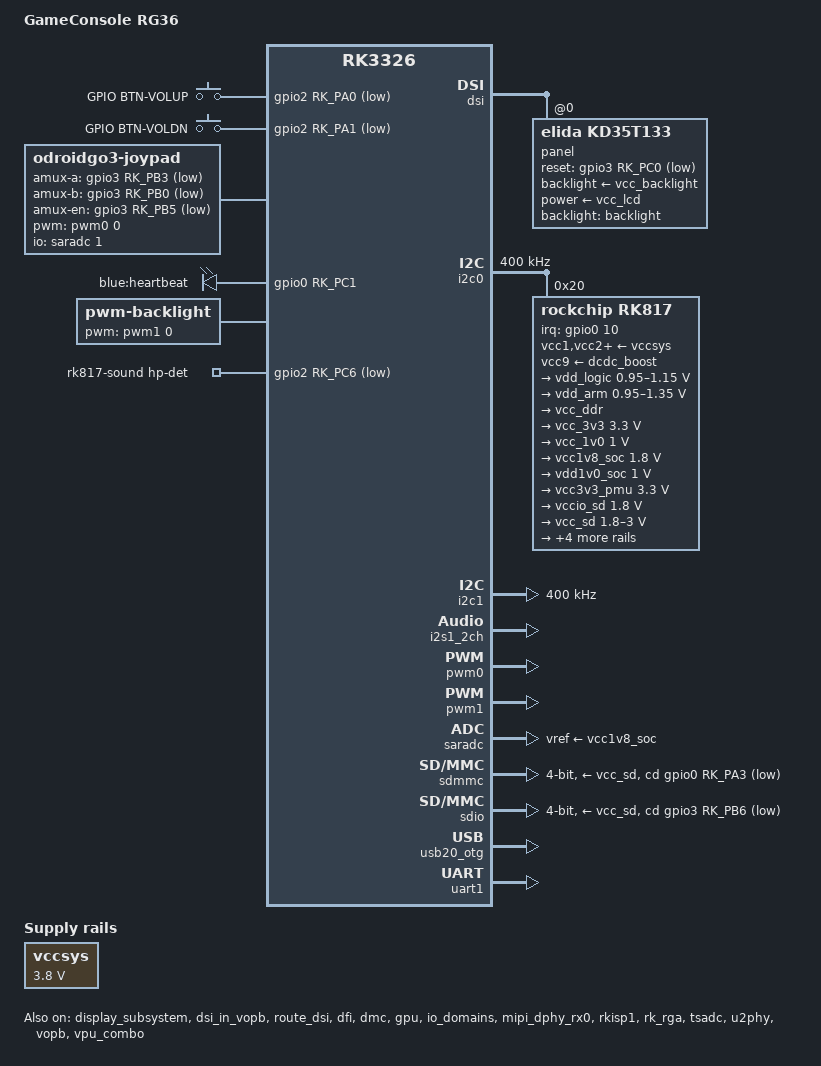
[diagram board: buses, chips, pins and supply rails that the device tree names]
// SPDX-License-Identifier: (GPL-2.0+ OR MIT)
/*
* Copyright (c) 2020 Hardkernel Co., Ltd
*/

/dts-v1/;
#include <dt-bindings/display/drm_mipi_dsi.h>
#include <dt-bindings/gpio/gpio.h>
#include <dt-bindings/input/input.h>
#include <dt-bindings/pinctrl/rockchip.h>
#include <dt-bindings/sensor-dev.h>
#include "rk3326.dtsi"
#include "rk3326-linux.dtsi"

/ {
	model = "GameConsole RG36";
	compatible = "rockchip,rk3326-rg36-linux", "rockchip,rk3326";
	
	chosen {
		bootargs = "";
	};
	
	gpio_keys: odroidgo3-keys {
		compatible = "gpio-keys";
		autorepeat;

		button_vol_up: button-vol-up {
			gpios = <&gpio2 RK_PA0 GPIO_ACTIVE_LOW>;
			label = "GPIO BTN-VOLUP";
			linux,code = <KEY_VOLUMEUP>;
		};

		button_vol_down: button-vol-down {
			gpios = <&gpio2 RK_PA1 GPIO_ACTIVE_LOW>;
			label = "GPIO BTN-VOLDN";
			linux,code = <KEY_VOLUMEDOWN>;
		};
	};
	
	joypad: odroidgo3-joypad {
		compatible = "odroidgo3-joypad";
		pwms = <&pwm0 0 200000000 0>;
		pwm-names = "enable";
		rumble-boost-weak = <0x0000>;
		rumble-boost-strong = <0x0000>;
		joypad-name = "GO-Super Gamepad";
		joypad-product = <0x1100>;
		joypad-revision = <0x0100>;
		
		status = "okay";
		
		/* gpio pincontrol setup */
		pinctrl-names = "default";
		pinctrl-0 = <&btn_pins>;
		pinctrl-1 = <&pwm0_pin>;
		/* Analog mux define */
		io-channel-names = "amux_adc";
		io-channels = <&saradc 1>;
		
		/* adc mux channel count */
		amux-count = <4>;
		amux-channel-mapping = <1 0 2 3>;
		/* adc mux select(a,b) gpio */
		amux-a-gpios = <&gpio3 RK_PB3 GPIO_ACTIVE_LOW>;
		amux-b-gpios = <&gpio3 RK_PB0 GPIO_ACTIVE_LOW>;
		/* adc mux enable gpio */
		amux-en-gpios = <&gpio3 RK_PB5 GPIO_ACTIVE_LOW>;
		
		/* adc calculate scale */
		button-adc-scale = <2>;
		
		/* adc deadzone range  */
		button-adc-deadzone = <256>;
		
		/*
		specifies fuzz value that is used to filter noise from
		the event stream.
		*/
		button-adc-fuzz = <128>;
		button-adc-flat = <256>;
		
		/*
		Analog Stick data tuning value(precent)
		p = positive direction, n = negative direction
		report value = (real_adc_data * tuning_value) / 100
		*/
		abs_x-p-tuning = <200>;
		abs_x-n-tuning = <200>;
		
		abs_y-p-tuning = <200>;
		abs_y-n-tuning = <200>;
		
		abs_rx-p-tuning = <200>;
		abs_rx-n-tuning = <200>;
		
		abs_ry-p-tuning = <200>;
		abs_ry-n-tuning = <200>;
		
		/* poll device interval (ms), adc read interval */
		poll-interval = <10>;
		
		/* required for RG351MP */
		invert-absx;
		invert-absy;
		invert-absry;
		
		sw1 {
			gpios = <&gpio1 RK_PB4 GPIO_ACTIVE_LOW>;
			label = "GPIO DPAD-UP";
			linux,code = <BTN_DPAD_UP>;// 0x220
		};
		sw2 {
			gpios = <&gpio1 RK_PB5 GPIO_ACTIVE_LOW>;
			label = "GPIO DPAD-DOWN";
			linux,code = <BTN_DPAD_DOWN>;// 0x221
		};
		sw3 {
			gpios = <&gpio1 RK_PB6 GPIO_ACTIVE_LOW>;
			label = "GPIO DPAD-LEFT";
			linux,code = <BTN_DPAD_LEFT>;// 0x222
		};
		sw4 {
			gpios = <&gpio1 RK_PB7 GPIO_ACTIVE_LOW>;
			label = "GPIO DPAD-RIGHT";
			linux,code = <BTN_DPAD_RIGHT>;// 0x223
		};
		sw5 {
			gpios = <&gpio1 RK_PA2 GPIO_ACTIVE_LOW>;
			label = "GPIO KEY BTN-A";
			linux,code = <BTN_EAST>;// 0x131
		};
		sw6 {
			gpios = <&gpio1 RK_PA5 GPIO_ACTIVE_LOW>;
			label = "GPIO BTN-B";
			linux,code = <BTN_SOUTH>;// 0x130
		};
		sw7 {
			gpios = <&gpio1 RK_PA6 GPIO_ACTIVE_LOW>;
			label = "GPIO BTN-Y";
			linux,code = <BTN_WEST>;// 0x134
		};
		sw8 {
			gpios = <&gpio1 RK_PA7 GPIO_ACTIVE_LOW>;
			label = "GPIO BTN-X";
			linux,code = <BTN_NORTH>;// 0x133
		};
		sw11 {
			gpios = <&gpio2 RK_PA2 GPIO_ACTIVE_LOW>;
			label = "GPIO F3";
			linux,code = <BTN_TRIGGER_HAPPY3>;// 0x2c2
		};
		sw12 {
			gpios = <&gpio2 RK_PA3 GPIO_ACTIVE_LOW>;
			label = "GPIO F4";
			linux,code = <BTN_TRIGGER_HAPPY4>;// 0x2c3
		};
		sw13 {
			gpios = <&gpio2 RK_PA4 GPIO_ACTIVE_LOW>;
			label = "GPIO F5";
			linux,code = <BTN_TRIGGER_HAPPY5>;// 0x2c4
		};
		/*sw14 {
			gpios = <&gpio2 RK_PA5 GPIO_ACTIVE_LOW>;
			label = "GPIO F6";
			linux,code = <BTN_TRIGGER_HAPPY6>;// 0x13c
		};*/
		sw15 {
			gpios = <&gpio2 RK_PA6 GPIO_ACTIVE_LOW>;
			label = "GPIO TOP-LEFT";
			linux,code = <BTN_TL>;// 0x02
		};
		sw16 {
			gpios = <&gpio2 RK_PA7 GPIO_ACTIVE_LOW>;
			label = "GPIO TOP-RIGHT";
			linux,code = <BTN_TR>;// 0x05
		};
		sw19 {
			gpios = <&gpio3 RK_PB1 GPIO_ACTIVE_LOW>;
			label = "GPIO F1";
			linux,code = <BTN_TRIGGER_HAPPY1>;
		};
		sw20 {
			gpios = <&gpio3 RK_PB7 GPIO_ACTIVE_LOW>;
			label = "GPIO TOP-RIGHT2";
			linux,code = <BTN_TR2>;
		};
		sw21 {
			gpios = <&gpio3 RK_PB2 GPIO_ACTIVE_LOW>;
			label = "GPIO TOP-LEFT2";
			linux,code = <BTN_TL2>;
		};
		sw22 {
			gpios = <&gpio3 RK_PB4 GPIO_ACTIVE_LOW>;
			label = "GPIO F2";
			linux,code = <BTN_TRIGGER_HAPPY2>;
		};
	};
	
	fiq-debugger {
		compatible = "rockchip,fiq-debugger";
		rockchip,serial-id = <2>;
		rockchip,wake-irq = <0>;
		/* If enable uart uses irq instead of fiq */
		rockchip,irq-mode-enable = <0>;
		rockchip,baudrate = <115200>;  /* Only 115200 and 1500000 */
		interrupts = <GIC_SPI 127 IRQ_TYPE_LEVEL_LOW>;
		pinctrl-names = "default";
		pinctrl-0 = <&uart2m1_xfer>;
		status = "okay";
	};
	
	leds: gpio_leds {
		compatible = "gpio-leds";
		
		pinctrl-names = "led_pins";
		pinctrl-0 = <&led_pins>;
		
		/* Blue LED : GPIO0_C1 */
		heartbeat {
			label = "blue:heartbeat";
			gpios = <&gpio0 RK_PC1 GPIO_ACTIVE_HIGH>;
			linux,default-trigger = "heartbeat";
		};
	};
	
	backlight: backlight {
		compatible = "pwm-backlight";
		pwms = <&pwm1 0 40000 0>;
		brightness-levels = <
		0   1   2   3   4   5   6   7
		8   9  10  11  12  13  14  15
		16  17  18  19  20  21  22  23
		24  25  26  27  28  29  30  31
		32  33  34  35  36  37  38  39
		40  41  42  43  44  45  46  47
		48  49  50  51  52  53  54  55
		56  57  58  59  60  61  62  63
		64  65  66  67  68  69  70  71
		72  73  74  75  76  77  78  79
		80  81  82  83  84  85  86  87
		88  89  90  91  92  93  94  95
		96  97  98  99 100 101 102 103
		104 105 106 107 108 109 110 111
		112 113 114 115 116 117 118 119
		120 121 122 123 124 125 126 127
		128 129 130 131 132 133 134 135
		136 137 138 139 140 141 142 143
		144 145 146 147 148 149 150 151
		152 153 154 155 156 157 158 159
		160 >;
		default-brightness-level = <51>; /* default 50% */
	};
	
	rk817-sound {
		compatible = "simple-audio-card";
		simple-audio-card,format = "i2s";
		simple-audio-card,name = "rockchip,rk817-codec";
		simple-audio-card,mclk-fs = <256>;
		simple-audio-card,widgets =
		"Microphone", "Mic Jack",
		"Headphone", "Headphone Jack";
		simple-audio-card,routing =
		"MIC_IN", "Mic Jack",
		/*"IN1P", "Mic Jack",*/
		"Headphone Jack", "HPOL",
		"Headphone Jack", "HPOR";
		simple-audio-card,hp-det-gpio = <&gpio2 RK_PC6 GPIO_ACTIVE_LOW>;
		simple-audio-card,codec-hp-det = <1>;
		simple-audio-card,cpu {
			sound-dai = <&i2s1_2ch>;
		};
		simple-audio-card,codec {
			sound-dai = <&rk817_codec>;
		};
	};
	
	vccsys: vccsys {
		compatible = "regulator-fixed";
		regulator-name = "vcc3v8_sys";
		regulator-always-on;
		regulator-min-microvolt = <3800000>;
		regulator-max-microvolt = <3800000>;
	};
	
};

&bus_apll {
	bus-supply = <&vdd_logic>;
	status = "okay";
};

&cpu0 {
	cpu-supply = <&vdd_arm>;
};

&cpu0_opp_table {
	rockchip,avs = <1>;
	
	/* bin scaling clock 1.296MHz */
	rockchip,bin-scaling-sel = <
	0               13
	1               13
	>;
	
	/delete-node/ opp-408000000;
	/delete-node/ opp-600000000;
	/delete-node/ opp-816000000;
};

&display_subsystem {
	status = "okay";
};

&dsi {
	status = "okay";
	
	panel@0 {
		compatible = "elida,kd35t133", "simple-panel-dsi";
		reg = <0>;
		/* pwm1 backlight */
		backlight = <&backlight>;
		/* RK817 LDO7 */
		backlight-supply = <&vcc_backlight>;
		/* RK817 LDO8 */
		power-supply = <&vcc_lcd>;
		/* Rev 0.2 LCD reset gpio GPIO3.C0 */
		reset-gpios = <&gpio3 RK_PC0 GPIO_ACTIVE_LOW>;
		prepare-delay-ms = <2>;
		reset-delay-ms = <1>;
		init-delay-ms = <20>;
		enable-delay-ms = <120>;
		disable-delay-ms = <50>;
		unprepare-delay-ms = <20>;
		width-mm = <52>;
		height-mm = <70>;
		dsi,flags = <(MIPI_DSI_MODE_VIDEO           |
		MIPI_DSI_MODE_VIDEO_BURST     |
		MIPI_DSI_MODE_LPM             |
		MIPI_DSI_MODE_EOT_PACKET)>;
		dsi,format = <MIPI_DSI_FMT_RGB888>;
		dsi,lanes = <4>;
		panel-init-sequence = [39 00 04 b9 f1 12 83 39 00 06 b1 00 00 00 da 80 39 00 04 b2 00 13 70 39 00 0b b3 10 10 28 28 03 ff 00 00 00 00 15 00 02 b4 80 15 00 03 b5 0a 0a 15 00 03 b6 82 82 39 00 05 b8 26 62 f0 63 39 00 1c ba 33 81 05 f9 0e 0e 20 00 00 00 00 00 00 00 44 25 00 90 0a 00 00 01 4f 01 00 00 37 15 00 02 bc 47 39 00 04 bf 02 11 00 39 00 0a c0 73 73 50 50 00 00 12 50 00 39 00 0d c1 53 00 32 32 77 d1 cc cc 77 77 33 33 39 00 07 c6 82 00 bf ff 00 ff 39 00 07 c7 b8 00 0a 00 00 00 39 00 05 c8 10 40 1e 02 15 00 02 cc 0b 39 00 23 e0 00 07 0d 37 35 3f 41 44 06 0c 0d 0f 11 10 12 14 1a 00 07 0d 37 35 3f 41 44 06 0c 0d 0f 11 10 12 14 1a 39 00 0f e3 07 07 0b 0b 0b 0b 00 00 00 00 ff 00 c0 10 39 00 40 e9 c8 10 02 00 00 b0 b1 11 31 23 28 80 b0 b1 27 08 00 04 02 00 00 00 00 04 02 00 00 00 88 88 ba 60 24 08 88 88 88 88 88 88 88 ba 71 35 18 88 88 88 88 88 00 00 00 01 00 00 00 00 00 00 00 00 00 39 00 3e ea 97 0a 82 02 03 07 00 00 00 00 00 00 81 88 ba 17 53 88 88 88 88 88 88 80 88 ba 06 42 88 88 88 88 88 88 23 00 00 02 80 00 00 00 00 00 00 00 00 00 00 00 00 00 00 00 00 00 00 00 00 00 00 39 00 04 ef ff ff 01 05 c8 01 11 05 14 01 29];
		panel-exit-sequence = <0x5140128 0x50a0110>;
		
		display-timings {
			native-mode = <&timing0>;
			
			timing0: 60Hz {
				clock-frequency = <50000000>;
				hactive = <640>;
				vactive = <480>;
				hsync-len = <70>;
				hback-porch = <450>;
				hfront-porch = <450>;
				vsync-len = <5>;
				vback-porch = <13>;
				vfront-porch = <17>;
				hsync-active = <0>;
				vsync-active = <0>;
				de-active = <0>;
				pixelclk-active = <1>;
			};
		};
	};
};

&dsi_in_vopb {
	status = "okay";
};

&route_dsi {
	connect = <&vopb_out_dsi>;
	status = "okay";
};

&dfi {
	status = "okay";
};

&dmc {
	center-supply = <&vdd_logic>;
	status = "okay";
};

&dmc_opp_table {
	/delete-node/ opp-194000000;
	/delete-node/ opp-328000000;
	/delete-node/ opp-450000000;
	
	opp-786000000 {
		status = "okay";
	};
};

&gpu_opp_table {
	/delete-node/ opp-200000000;
	/delete-node/ opp-300000000;
};

&emmc {
	status = "disabled";
};

&sfc {
	status = "disabled";
};

&gpu {
	mali-supply = <&vdd_logic>;
	status = "okay";
};

&i2c0 {
	status = "okay";
	clock-frequency = <400000>;
	i2c-scl-rising-time-ns = <280>;
	i2c-scl-falling-time-ns = <16>;
	
	rk817: pmic@20 {
		compatible = "rockchip,rk817";
		reg = <0x20>;
		interrupt-parent = <&gpio0>;
		interrupts = <10 IRQ_TYPE_LEVEL_LOW>;
		pinctrl-names = "default", "pmic-sleep",
		"pmic-power-off", "pmic-reset";
		pinctrl-0 = <&pmic_int>;
		pinctrl-1 = <&soc_slppin_slp>, <&rk817_slppin_slp>;
		pinctrl-2 = <&soc_slppin_gpio>, <&rk817_slppin_pwrdn>;
		pinctrl-3 = <&soc_slppin_rst>, <&rk817_slppin_rst>;
		rockchip,system-power-controller;
		wakeup-source;
		#clock-cells = <1>;
		clock-output-names = "rk808-clkout1", "rk808-clkout2";
		//fb-inner-reg-idxs = <2>;
		
		/* 1: rst regs (default in codes), 0: rst the pmic */
		pmic-reset-func = <1>;
		
		vcc1-supply = <&vccsys>;
		vcc2-supply = <&vccsys>;
		vcc3-supply = <&vccsys>;
		vcc4-supply = <&vccsys>;
		vcc5-supply = <&vccsys>;
		vcc6-supply = <&vccsys>;
		vcc7-supply = <&vccsys>;
		vcc8-supply = <&vccsys>;
		vcc9-supply = <&dcdc_boost>;
		
		pwrkey {
			status = "okay";
		};
		
		pinctrl_rk8xx: pinctrl_rk8xx {
			gpio-controller;
			#gpio-cells = <2>;
			
			rk817_ts_gpio1: rk817_ts_gpio1 {
				pins = "gpio_ts";
				function = "pin_fun1";
				/* output-low; */
				/* input-enable; */
			};
			
			rk817_gt_gpio2: rk817_gt_gpio2 {
				pins = "gpio_gt";
				function = "pin_fun1";
			};
			
			rk817_pin_ts: rk817_pin_ts {
				pins = "gpio_ts";
				function = "pin_fun0";
			};
			
			rk817_pin_gt: rk817_pin_gt {
				pins = "gpio_gt";
				function = "pin_fun0";
			};
			
			rk817_slppin_null: rk817_slppin_null {
				pins = "gpio_slp";
				function = "pin_fun0";
			};
			
			rk817_slppin_slp: rk817_slppin_slp {
				pins = "gpio_slp";
				function = "pin_fun1";
			};
			
			rk817_slppin_pwrdn: rk817_slppin_pwrdn {
				pins = "gpio_slp";
				function = "pin_fun2";
			};
			
			rk817_slppin_rst: rk817_slppin_rst {
				pins = "gpio_slp";
				function = "pin_fun3";
			};
		};
		
		regulators {
			vdd_logic: DCDC_REG1 {
				regulator-always-on;
				regulator-boot-on;
				regulator-min-microvolt = <950000>;
				regulator-max-microvolt = <1150000>;
				regulator-ramp-delay = <6001>;
				regulator-initial-mode = <0x2>;
				regulator-name = "vdd_logic";
				regulator-state-mem {
					regulator-on-in-suspend;
					regulator-suspend-microvolt = <950000>;
				};
			};
			
			vdd_arm: DCDC_REG2 {
				regulator-always-on;
				regulator-boot-on;
				regulator-min-microvolt = <950000>;
				regulator-max-microvolt = <1350000>;
				regulator-ramp-delay = <6001>;
				regulator-initial-mode = <0x2>;
				regulator-name = "vdd_arm";
				regulator-state-mem {
					regulator-off-in-suspend;
					regulator-suspend-microvolt = <950000>;
				};
			};
			
			vcc_ddr: DCDC_REG3 {
				regulator-always-on;
				regulator-boot-on;
				regulator-initial-mode = <0x2>;
				regulator-name = "vcc_ddr";
				regulator-state-mem {
					regulator-on-in-suspend;
				};
			};
			
			vcc_3v3: DCDC_REG4 {
				regulator-always-on;
				regulator-boot-on;
				regulator-min-microvolt = <3300000>;
				regulator-max-microvolt = <3300000>;
				regulator-initial-mode = <0x2>;
				regulator-name = "vcc_3v3";
				regulator-state-mem {
					regulator-off-in-suspend;
					regulator-suspend-microvolt = <3300000>;
				};
			};
			
			/* Not Used */
			vcc_1v0: LDO_REG1 {
				regulator-min-microvolt = <1000000>;
				regulator-max-microvolt = <1000000>;
				regulator-name = "vcc_1v0";
				regulator-state-mem {
					regulator-off-in-suspend;
					regulator-suspend-microvolt = <1000000>;
				};
			};
			
			vcc1v8_soc: LDO_REG2 {
				regulator-always-on;
				regulator-boot-on;
				regulator-min-microvolt = <1800000>;
				regulator-max-microvolt = <1800000>;
				
				regulator-name = "vcc1v8_soc";
				regulator-state-mem {
					regulator-on-in-suspend;
					regulator-suspend-microvolt = <1800000>;
				};
			};
			
			vdd1v0_soc: LDO_REG3 {
				regulator-always-on;
				regulator-boot-on;
				regulator-min-microvolt = <1000000>;
				regulator-max-microvolt = <1000000>;
				
				regulator-name = "vcc1v0_soc";
				regulator-state-mem {
					regulator-on-in-suspend;
					regulator-suspend-microvolt = <1000000>;
				};
			};
			
			vcc3v3_pmu: LDO_REG4 {
				regulator-always-on;
				regulator-boot-on;
				regulator-min-microvolt = <3300000>;
				regulator-max-microvolt = <3300000>;
				
				regulator-name = "vcc3v3_pmu";
				regulator-state-mem {
					regulator-on-in-suspend;
					regulator-suspend-microvolt = <3300000>;
					
				};
			};
			
			vccio_sd: LDO_REG5 {
				regulator-always-on;
				regulator-boot-on;
				regulator-min-microvolt = <1800000>;
				regulator-max-microvolt = <1800000>;
				
				regulator-name = "vccio_sd";
				regulator-state-mem {
					regulator-on-in-suspend;
					regulator-suspend-microvolt = <1800000>;
				};
			};
			
			vcc_sd: LDO_REG6 {
				regulator-min-microvolt = <1800000>;
				regulator-max-microvolt = <3000000>;
				regulator-boot-on;
				
				regulator-name = "vcc_sd";
				regulator-state-mem {
					regulator-on-in-suspend;
					regulator-suspend-microvolt = <3000000>;
					
				};
			};
			
			/* Rev 0.2 LCD Backlight Power */
			vcc_backlight: LDO_REG7 {
				regulator-min-microvolt = <3300000>;
				regulator-max-microvolt = <3300000>;
				regulator-name = "vcc_backlight";
				regulator-state-mem {
					regulator-off-in-suspend;
					regulator-suspend-microvolt = <3300000>;
				};
			};
			
			/* Rev 0.2 LCD IO Power */
			vcc_lcd: LDO_REG8 {
				regulator-min-microvolt = <2800000>;
				regulator-max-microvolt = <2800000>;
				regulator-name = "vcc_lcd";
				regulator-state-mem {
					regulator-off-in-suspend;
					regulator-suspend-microvolt = <2800000>;
				};
			};
			
			
			
			dcdc_boost: BOOST {
				regulator-always-on;
				regulator-boot-on;
				regulator-min-microvolt = <5000000>;
				regulator-max-microvolt = <5400000>;
				regulator-name = "boost";
			};
			
			otg_switch: OTG_SWITCH {
				regulator-boot-on;
				regulator-name = "otg_switch";
			};
		};
		
		battery {
			compatible = "rk817,battery";
			ocv_table = <3165 3220 3280 3330 3380 3430 3480
			3530 3580 3630 3670 3710 3750 3790
			3830 3870 3910 3950 3990 3995 4000>;
			
			
			/* KPL605475 Battery Spec */
			/*
			Capacity : 3.7V 3000mA
			Normal Voltage = 3.7V
			Cut-Off Voltage : 3.1V
			Internal Impedance : 180 mOhm
			Charging Voltage : 4.2V
			Charging Voltage Max : 4.25V
			Sample resister : 10 mohm
			*/
			design_capacity = <3380>;
			design_qmax = <3718>;
			bat_res = <100>;
			sleep_enter_current = <300>;
			sleep_exit_current = <300>;
			sleep_filter_current = <100>;
			power_off_thresd = <3000>;
			zero_algorithm_vol = <3850>;
			max_soc_offset = <60>;
			monitor_sec = <5>;
			virtual_power = <0>;
			sample_res = <10>;
		};
		
		charger {
			compatible = "rk817,charger";
			min_input_voltage = <4500>;
			max_input_current = <1500>;
			max_chrg_current = <2000>;
			max_chrg_voltage = <4200>;
			chrg_term_mode = <0>;
			chrg_finish_cur = <52>;
			virtual_power = <0>;
			sample_res = <10>;
			
			/* P.C.B rev0.2 DC Detect & Charger Status LED GPIO */
			dc_det_gpio  = <&gpio0 RK_PB3 GPIO_ACTIVE_HIGH>;
			bat_low_gpio = <&gpio2 RK_PB5 GPIO_ACTIVE_HIGH>;
			
			extcon = <&u2phy>;
		};
		
		rk817_codec: codec {
			#sound-dai-cells = <0>;
			compatible = "rockchip,rk817-codec";
			clocks = <&cru SCLK_I2S1_OUT>;
			clock-names = "mclk";
			pinctrl-names = "default";
			pinctrl-0 = <&i2s1_2ch_mclk>;
			hp-volume = <20>;
			spk-volume = <3>;
			status = "okay";
		};
	};
};

/* EXT Header(P2) : 7(SCL:GPIO0.C2), 8(SDA:GPIO0.C3) */
&i2c1 {
	status = "okay";
	clock-frequency = <400000>;
};

/* MIPI CSI I2C */
&i2c2 {
	status = "disabled";
};

/* I2S 1 Channel Used */
&i2s1_2ch {
	status = "okay";
	#sound-dai-cells = <0>;
};

&io_domains {
	/* GRF Register Voltage select control */
	status = "okay";
	
	/* SDIO I/O Voltage */
	vccio1-supply = <&vccio_sd>;
	/* SDMMC I/O Voltage */
	vccio2-supply = <&vccio_sd>;
	/* CAM I/O Voltage */
	vccio3-supply = <&vcc_3v3>;
	/* LVDS/LCDC I/O Voltage */
	vccio4-supply = <&vcc_3v3>;
	/* I2S I/O Voltage */
	vccio5-supply = <&vcc_3v3>;
	/* eMMC I/O Voltage */
	vccio6-supply = <&vcc_3v3>;
};

&isp_mmu {
	status = "okay";
};

&mipi_dphy_rx0 {
	status = "okay";
};

&rkisp1 {
	status = "okay";
};

&spi0 {
	status = "disabled";
};

&pmu_io_domains {
	/* PMU GRF Register Voltage select control */
	status = "okay";
	
	/* PMU I/O Voltage */
	pmuio1-supply = <&vcc3v3_pmu>;
	/* GPIO0_B/GPIO0_C, Flash */
	pmuio2-supply = <&vcc3v3_pmu>;
};

/* Rumble PWM */
&pwm0 {
	status = "okay";
};

/* LCD Backlight PWM */
&pwm1 {
	status = "okay";
};

&rk_rga {
	status = "okay";
};

&rockchip_suspend {
	status = "okay";
	rockchip,sleep-debug-en = <1>;
};

&saradc {
	status = "okay";
	vref-supply = <&vcc1v8_soc>;
};

&sdmmc {
	bus-width = <4>;
	cap-mmc-highspeed;
	cap-sd-highspeed;
	supports-sd;
	card-detect-delay = <800>;
	ignore-pm-notify;
	cd-gpios = <&gpio0 RK_PA3 GPIO_ACTIVE_LOW>; /*[> CD GPIO <]*/
	sd-uhs-sdr12;
	sd-uhs-sdr25;
	sd-uhs-sdr50;
	sd-uhs-sdr104;
	vqmmc-supply = <&vccio_sd>;
	vmmc-supply = <&vcc_sd>;
	status = "okay";
};

&sdio {
	bus-width = <4>;
	cap-mmc-highspeed;
	cap-sd-highspeed;
	supports-sd;
	card-detect-delay = <800>;
	ignore-pm-notify;
	cd-gpios = <&gpio3 RK_PB6 GPIO_ACTIVE_LOW>; /*[> CD GPIO <]*/
	sd-uhs-sdr12;
	sd-uhs-sdr25;
	sd-uhs-sdr50;
	sd-uhs-sdr104;
	vqmmc-supply = <&vccio_sd>;
	vmmc-supply = <&vcc_sd>;
	status = "okay";
};

&tsadc {
	pinctrl-names = "gpio", "otpout";
	pinctrl-0 = <&tsadc_otp_gpio>;
	pinctrl-1 = <&tsadc_otp_out>;
	status = "okay";
};

&u2phy {
	status = "okay";
	
	u2phy_host: host-port {
		status = "okay";
	};
	
	u2phy_otg: otg-port {
		status = "disabled";
	};
};

&usb20_otg {
	status = "okay";
};

/*
EXT Header(P2) UART :
2(RXD:GPIO1.C0),3(TXD:GPIO1.C1),4(CTS:GPIO1.C2),5(RTS:GPIO1.C3)
*/
&uart1 {
	pinctrl-names = "default";
	pinctrl-0 = <&uart1_xfer &uart1_cts>;
	status = "okay";
};

&vip_mmu {
	status = "okay";
};

&vopb {
	status = "okay";
};

&vopb_mmu {
	status = "okay";
};

&vpu_combo {
	status = "okay";
};

&pinctrl {
	pmic {
		/* ODROID-GO2 : PMIC_INT(GPIO0.PB2) */
		pmic_int: pmic_int {
			rockchip,pins =
			<0 RK_PB2 RK_FUNC_GPIO &pcfg_pull_up>,
			<0 RK_PB3 RK_FUNC_GPIO &pcfg_pull_none>;
		};
		
		/* ODROID-GO2 : PMIC_SLEEP(GPIO0.PA4) */
		soc_slppin_gpio: soc_slppin_gpio {
			rockchip,pins =
			<0 RK_PA4 RK_FUNC_GPIO &pcfg_output_low>;
		};
		
		soc_slppin_slp: soc_slppin_slp {
			rockchip,pins =
			<0 RK_PA4 RK_FUNC_1 &pcfg_pull_none>;
		};
		
		soc_slppin_rst: soc_slppin_rst {
			rockchip,pins =
			<0 RK_PA4 RK_FUNC_2 &pcfg_pull_none>;
		};
	};
	
	leds {
		led_pins: led-pins {
			rockchip,pins = <0 RK_PC1 RK_FUNC_GPIO &pcfg_pull_none>;
		};
	};
	btns {
		btn_pins: btn-pins {
			rockchip,pins = <1 RK_PB4 RK_FUNC_GPIO &pcfg_pull_up>,
			<1 RK_PB5 RK_FUNC_GPIO &pcfg_pull_up>,
			<1 RK_PB6 RK_FUNC_GPIO &pcfg_pull_up>,
			<1 RK_PB7 RK_FUNC_GPIO &pcfg_pull_up>,
			<1 RK_PA2 RK_FUNC_GPIO &pcfg_pull_up>,
			<1 RK_PA5 RK_FUNC_GPIO &pcfg_pull_up>,
			<1 RK_PA6 RK_FUNC_GPIO &pcfg_pull_up>,
			<1 RK_PA7 RK_FUNC_GPIO &pcfg_pull_up>,
			
			<2 RK_PA0 RK_FUNC_GPIO &pcfg_pull_up>,
			<2 RK_PA1 RK_FUNC_GPIO &pcfg_pull_up>,
			<2 RK_PA2 RK_FUNC_GPIO &pcfg_pull_up>,
			<2 RK_PA3 RK_FUNC_GPIO &pcfg_pull_up>,
			<2 RK_PA4 RK_FUNC_GPIO &pcfg_pull_up>,
			<2 RK_PA5 RK_FUNC_GPIO &pcfg_pull_up>,
			<2 RK_PA6 RK_FUNC_GPIO &pcfg_pull_up>,
			<2 RK_PA7 RK_FUNC_GPIO &pcfg_pull_up>,
			<3 RK_PB1 RK_FUNC_GPIO &pcfg_pull_up>,
			<3 RK_PB2 RK_FUNC_GPIO &pcfg_pull_up>,
			<3 RK_PB4 RK_FUNC_GPIO &pcfg_pull_up>,
			<3 RK_PB7 RK_FUNC_GPIO &pcfg_pull_up>;
		};
	};
};

/* DON'T PUT ANYTHING BELOW HERE.  PUT IT ABOVE PINCTRL */
/* DON'T PUT ANYTHING BELOW HERE.  PUT IT ABOVE PINCTRL */
/* DON'T PUT ANYTHING BELOW HERE.  PUT IT ABOVE PINCTRL */

